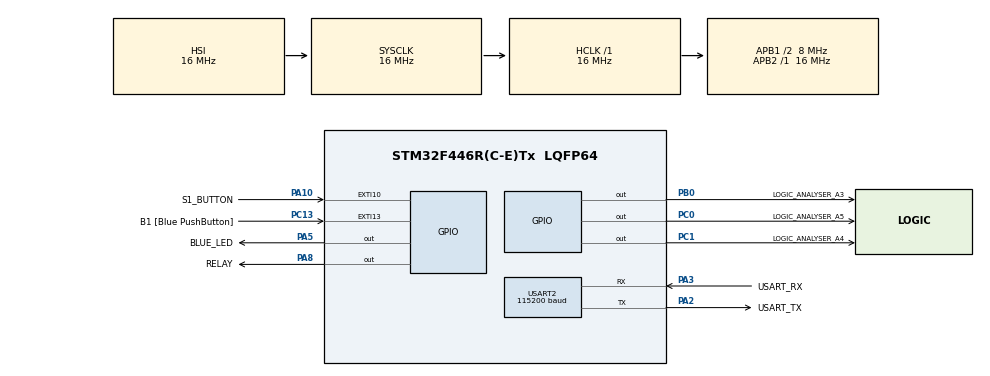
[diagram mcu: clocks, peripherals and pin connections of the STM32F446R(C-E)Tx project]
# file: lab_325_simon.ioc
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Mcu.Family=STM32F4
Mcu.Name=STM32F446R(C-E)Tx
Mcu.Package=LQFP64
NVIC.EXTI15_10_IRQn=true\:0\:0\:false\:false\:true\:true\:true\:true
NVIC.PriorityGroup=NVIC_PRIORITYGROUP_0
NVIC.TIM2_IRQn=true\:0\:0\:false\:false\:true\:true\:true\:true
PA10.GPIO_Label=S1_BUTTON
PA10.GPIO_ModeDefaultEXTI=GPIO_MODE_IT_RISING_FALLING
PA10.Signal=GPXTI10
PA13.GPIO_Label=TMS
PA13.Mode=Serial_Wire
PA13.Signal=SYS_JTMS-SWDIO
PA14.GPIO_Label=TCK
PA14.Mode=Serial_Wire
PA14.Signal=SYS_JTCK-SWCLK
PA2.GPIO_Label=USART_TX
PA2.Mode=Asynchronous
PA2.Signal=USART2_TX
PA3.GPIO_Label=USART_RX
PA3.Mode=Asynchronous
PA3.Signal=USART2_RX
PA5.GPIO_Label=BLUE_LED
PA5.Signal=GPIO_Output
PA8.GPIO_Label=RELAY
PA8.Signal=GPIO_Output
PB0.GPIO_Label=LOGIC_ANALYSER_A3
PB0.Signal=GPIO_Output
PB3.GPIO_Label=SWO
PB3.Signal=SYS_JTDO-SWO
PC0.GPIO_Label=LOGIC_ANALYSER_A5
PC0.Signal=GPIO_Output
PC1.GPIO_Label=LOGIC_ANALYSER_A4
PC1.Signal=GPIO_Output
PC13.GPIO_Label=B1 [Blue PushButton]
PC13.GPIO_ModeDefaultEXTI=GPIO_MODE_IT_FALLING
PC13.Signal=GPXTI13
PC14-OSC32_IN.Mode=LSE-External-Oscillator
PC14-OSC32_IN.Signal=RCC_OSC32_IN
PC15-OSC32_OUT.Mode=LSE-External-Oscillator
PC15-OSC32_OUT.Signal=RCC_OSC32_OUT
PH0-OSC_IN.Mode=HSE-External-Oscillator
PH0-OSC_IN.Signal=RCC_OSC_IN
PH1-OSC_OUT.Mode=HSE-External-Oscillator
PH1-OSC_OUT.Signal=RCC_OSC_OUT
ProjectManager.HeapSize=0x200
ProjectManager.StackSize=0x400
ProjectManager.TargetToolchain=STM32CubeIDE
RCC.48MHZClocksFreq_Value=84000000
RCC.AHBFreq_Value=16000000
RCC.APB1CLKDivider=RCC_HCLK_DIV2
RCC.APB1Freq_Value=8000000
RCC.APB1TimFreq_Value=16000000
RCC.APB2Freq_Value=16000000
RCC.APB2TimFreq_Value=16000000
RCC.CortexFreq_Value=16000000
RCC.FLatency-AdvancedSettings=FLASH_LATENCY_0
RCC.HCLKFreq_Value=16000000
RCC.HSE_VALUE=8000000
RCC.HSI_VALUE=16000000
RCC.PLLN=336
RCC.PLLP=RCC_PLLP_DIV4
RCC.SYSCLKFreq_VALUE=16000000
RCC.USBFreq_Value=168000000
RCC.VCOOutputFreq_Value=336000000
TIM2.Period=999
TIM2.Prescaler=15999
USART2.BaudRate=115200
USART2.OverSampling=UART_OVERSAMPLING_16
USART2.VirtualMode=VM_ASYNC
VP_TIM2_VS_ClockSourceINT.Mode=Internal
board=NUCLEO-F446RE

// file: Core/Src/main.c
/* USER CODE BEGIN Header */
/**
  ******************************************************************************
  * @file           : main.c
  * @brief          : Main program body
  ******************************************************************************
  * @attention
  *
  * Copyright (c) 2026 STMicroelectronics.
  * All rights reserved.
  *
  * This software is licensed under terms that can be found in the LICENSE file
  * in the root directory of this software component.
  * If no LICENSE file comes with this software, it is provided AS-IS.
  *
  ******************************************************************************
  */
/* USER CODE END Header */
#include "main.h"

/* USER CODE BEGIN Includes */
#include "application.h"
/* USER CODE END Includes */

TIM_HandleTypeDef htim2;

UART_HandleTypeDef huart2;

void SystemClock_Config(void);
static void MX_GPIO_Init(void);
static void MX_USART2_UART_Init(void);
static void MX_TIM2_Init(void);

int main(void)
{

  /* MCU Configuration--------------------------------------------------------*/

  /* Reset of all peripherals, Initializes the Flash interface and the Systick. */
  HAL_Init();

  /* Configure the system clock */
  SystemClock_Config();

  /* Initialize all configured peripherals */
  MX_GPIO_Init();
  MX_USART2_UART_Init();
  MX_TIM2_Init();
  /* USER CODE BEGIN 2 */
  app_config_t config;
#ifndef EVENT_DRIVEN_HW_EVENT_DRIVEN_NONBLOCKING
  config.led_blue.port  = BLUE_LED_GPIO_Port;
  config.led_blue.pin   = BLUE_LED_Pin;
  config.led_blue.state = LED_OFF;
#endif
  config.button_s1.port = S1_BUTTON_GPIO_Port;
  config.button_s1.pin  = S1_BUTTON_Pin;
  config.relay.port     = RELAY_GPIO_Port;
  config.relay.pin      = RELAY_Pin;
  config.relay.state    = RELAY_OFF;
  config.la_a3.port     = LOGIC_ANALYSER_A3_GPIO_Port;
  config.la_a3.pin      = LOGIC_ANALYSER_A3_Pin;
  config.la_a3.state    = GPIO_PIN_RESET;
  config.la_a4.port     = LOGIC_ANALYSER_A4_GPIO_Port;
  config.la_a4.pin      = LOGIC_ANALYSER_A4_Pin;
  config.la_a4.state    = GPIO_PIN_RESET;
  config.la_a5.port     = LOGIC_ANALYSER_A5_GPIO_Port;
  config.la_a5.pin      = LOGIC_ANALYSER_A5_Pin;
  config.la_a5.state    = GPIO_PIN_RESET;
  config.h_tim2         = &htim2;
  app_init(&config);
  /* USER CODE END 2 */

  /* Infinite loop */
  /* USER CODE BEGIN WHILE */
  app_process_loop();
  while (1)
  {
    /* USER CODE END WHILE */

  }
}

void SystemClock_Config(void)
{
  RCC_OscInitTypeDef RCC_OscInitStruct = {0};
  RCC_ClkInitTypeDef RCC_ClkInitStruct = {0};

  /** Configure the main internal regulator output voltage
  */
  __HAL_RCC_PWR_CLK_ENABLE();
  __HAL_PWR_VOLTAGESCALING_CONFIG(PWR_REGULATOR_VOLTAGE_SCALE3);

  /** Initializes the RCC Oscillators according to the specified parameters
  * in the RCC_OscInitTypeDef structure.
  */
  RCC_OscInitStruct.OscillatorType = RCC_OSCILLATORTYPE_HSI;
  RCC_OscInitStruct.HSIState = RCC_HSI_ON;
  RCC_OscInitStruct.HSICalibrationValue = RCC_HSICALIBRATION_DEFAULT;
  RCC_OscInitStruct.PLL.PLLState = RCC_PLL_NONE;
  if (HAL_RCC_OscConfig(&RCC_OscInitStruct) != HAL_OK)
  {
    Error_Handler();
  }

  /** Initializes the CPU, AHB and APB buses clocks
  */
  RCC_ClkInitStruct.ClockType = RCC_CLOCKTYPE_HCLK|RCC_CLOCKTYPE_SYSCLK
                              |RCC_CLOCKTYPE_PCLK1|RCC_CLOCKTYPE_PCLK2;
  RCC_ClkInitStruct.SYSCLKSource = RCC_SYSCLKSOURCE_HSI;
  RCC_ClkInitStruct.AHBCLKDivider = RCC_SYSCLK_DIV1;
  RCC_ClkInitStruct.APB1CLKDivider = RCC_HCLK_DIV2;
  RCC_ClkInitStruct.APB2CLKDivider = RCC_HCLK_DIV1;

  if (HAL_RCC_ClockConfig(&RCC_ClkInitStruct, FLASH_LATENCY_0) != HAL_OK)
  {
    Error_Handler();
  }
}

static void MX_TIM2_Init(void)
{

  TIM_ClockConfigTypeDef sClockSourceConfig = {0};
  TIM_MasterConfigTypeDef sMasterConfig = {0};

  htim2.Instance = TIM2;
  htim2.Init.Prescaler = 15999;
  htim2.Init.CounterMode = TIM_COUNTERMODE_UP;
  htim2.Init.Period = 999;
  htim2.Init.ClockDivision = TIM_CLOCKDIVISION_DIV1;
  htim2.Init.AutoReloadPreload = TIM_AUTORELOAD_PRELOAD_DISABLE;
  if (HAL_TIM_Base_Init(&htim2) != HAL_OK)
  {
    Error_Handler();
  }
  sClockSourceConfig.ClockSource = TIM_CLOCKSOURCE_INTERNAL;
  if (HAL_TIM_ConfigClockSource(&htim2, &sClockSourceConfig) != HAL_OK)
  {
    Error_Handler();
  }
  sMasterConfig.MasterOutputTrigger = TIM_TRGO_RESET;
  sMasterConfig.MasterSlaveMode = TIM_MASTERSLAVEMODE_DISABLE;
  if (HAL_TIMEx_MasterConfigSynchronization(&htim2, &sMasterConfig) != HAL_OK)
  {
    Error_Handler();
  }

}

static void MX_USART2_UART_Init(void)
{

  huart2.Instance = USART2;
  huart2.Init.BaudRate = 115200;
  huart2.Init.WordLength = UART_WORDLENGTH_8B;
  huart2.Init.StopBits = UART_STOPBITS_1;
  huart2.Init.Parity = UART_PARITY_NONE;
  huart2.Init.Mode = UART_MODE_TX_RX;
  huart2.Init.HwFlowCtl = UART_HWCONTROL_NONE;
  huart2.Init.OverSampling = UART_OVERSAMPLING_16;
  if (HAL_UART_Init(&huart2) != HAL_OK)
  {
    Error_Handler();
  }

}

static void MX_GPIO_Init(void)
{
  GPIO_InitTypeDef GPIO_InitStruct = {0};

  /* GPIO Ports Clock Enable */
  __HAL_RCC_GPIOC_CLK_ENABLE();
  __HAL_RCC_GPIOH_CLK_ENABLE();
  __HAL_RCC_GPIOA_CLK_ENABLE();
  __HAL_RCC_GPIOB_CLK_ENABLE();

  /*Configure GPIO pin Output Level */
  HAL_GPIO_WritePin(GPIOC, LOGIC_ANALYSER_A5_Pin|LOGIC_ANALYSER_A4_Pin, GPIO_PIN_RESET);

  /*Configure GPIO pin Output Level */
  HAL_GPIO_WritePin(GPIOA, BLUE_LED_Pin|RELAY_Pin, GPIO_PIN_RESET);

  /*Configure GPIO pin Output Level */
  HAL_GPIO_WritePin(LOGIC_ANALYSER_A3_GPIO_Port, LOGIC_ANALYSER_A3_Pin, GPIO_PIN_RESET);

  /*Configure GPIO pin : B1_Pin */
  GPIO_InitStruct.Pin = B1_Pin;
  GPIO_InitStruct.Mode = GPIO_MODE_IT_FALLING;
  GPIO_InitStruct.Pull = GPIO_NOPULL;
  HAL_GPIO_Init(B1_GPIO_Port, &GPIO_InitStruct);

  /*Configure GPIO pins : LOGIC_ANALYSER_A5_Pin LOGIC_ANALYSER_A4_Pin */
  GPIO_InitStruct.Pin = LOGIC_ANALYSER_A5_Pin|LOGIC_ANALYSER_A4_Pin;
  GPIO_InitStruct.Mode = GPIO_MODE_OUTPUT_PP;
  GPIO_InitStruct.Pull = GPIO_NOPULL;
  GPIO_InitStruct.Speed = GPIO_SPEED_FREQ_LOW;
  HAL_GPIO_Init(GPIOC, &GPIO_InitStruct);

  /*Configure GPIO pins : BLUE_LED_Pin RELAY_Pin */
  GPIO_InitStruct.Pin = BLUE_LED_Pin|RELAY_Pin;
  GPIO_InitStruct.Mode = GPIO_MODE_OUTPUT_PP;
  GPIO_InitStruct.Pull = GPIO_NOPULL;
  GPIO_InitStruct.Speed = GPIO_SPEED_FREQ_LOW;
  HAL_GPIO_Init(GPIOA, &GPIO_InitStruct);

  /*Configure GPIO pin : LOGIC_ANALYSER_A3_Pin */
  GPIO_InitStruct.Pin = LOGIC_ANALYSER_A3_Pin;
  GPIO_InitStruct.Mode = GPIO_MODE_OUTPUT_PP;
  GPIO_InitStruct.Pull = GPIO_NOPULL;
  GPIO_InitStruct.Speed = GPIO_SPEED_FREQ_LOW;
  HAL_GPIO_Init(LOGIC_ANALYSER_A3_GPIO_Port, &GPIO_InitStruct);

  /*Configure GPIO pin : S1_BUTTON_Pin */
  GPIO_InitStruct.Pin = S1_BUTTON_Pin;
  GPIO_InitStruct.Mode = GPIO_MODE_IT_RISING_FALLING;
  GPIO_InitStruct.Pull = GPIO_NOPULL;
  HAL_GPIO_Init(S1_BUTTON_GPIO_Port, &GPIO_InitStruct);

  /* EXTI interrupt init*/
  HAL_NVIC_SetPriority(EXTI15_10_IRQn, 0, 0);
  HAL_NVIC_EnableIRQ(EXTI15_10_IRQn);

}

void Error_Handler(void)
{
  __disable_irq();
  while (1)
  {
  }
}
